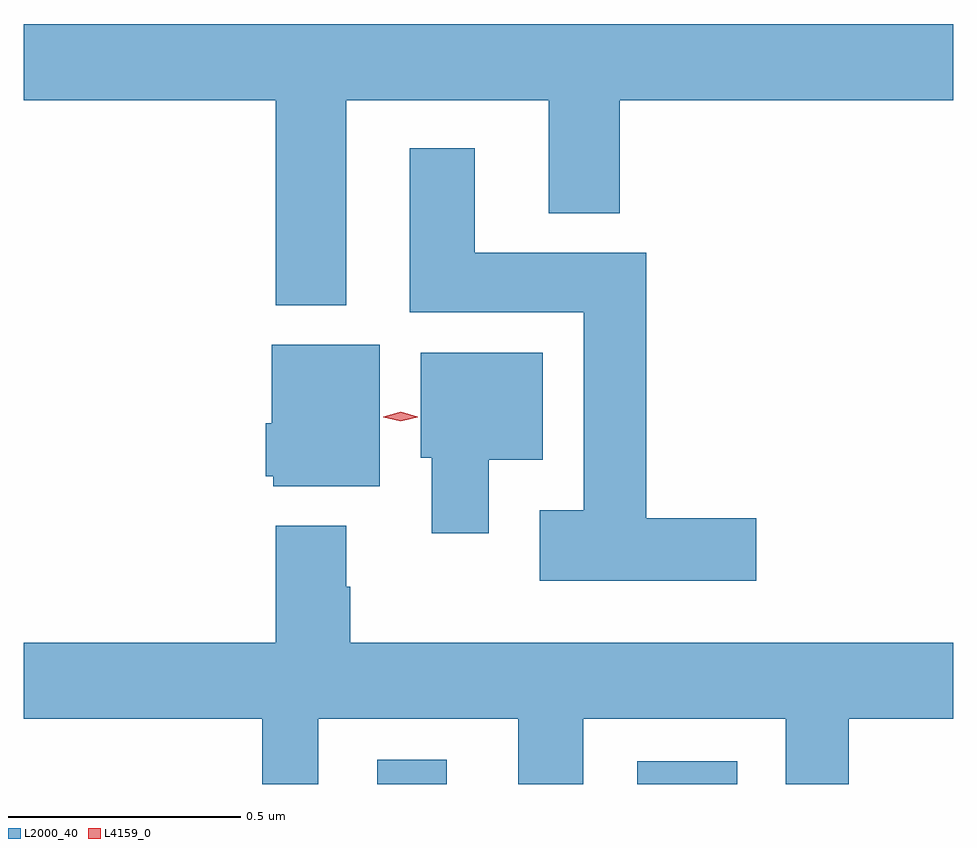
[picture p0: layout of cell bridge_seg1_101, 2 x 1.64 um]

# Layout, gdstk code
import gdstk
lib = gdstk.Library(unit=1e-6, precision=1e-09)
def R(c, l, rs):  # rectangles x0, y0, x1, y1
    for r in rs: c.add(gdstk.rectangle(r[:2], r[2:], *l))
def P(c, l, *ps):  # polygons
    for p in ps: c.add(gdstk.Polygon(p, *l))
L2000_40 = (2000, 40)
L4159_0 = (4159, 0)

bridge_seg1_101 = lib.new_cell('bridge_seg1_101')
R(bridge_seg1_101, L2000_40, [(295.01,574.236,295.159,574.288), (295.569,574.236,295.785,574.285)])
P(bridge_seg1_101, L2000_40, [(294.943,575.708),(295.379,575.708),(295.379,575.465),(295.532,575.465),(295.532,575.708),(296.249,575.708),(296.249,575.872),(294.249,575.872),(294.249,575.708),(294.791,575.708),(294.791,575.267),(294.943,575.267)],
  [(295.825,574.808),(295.589,574.808),(295.589,575.38),(295.219,575.38),(295.219,575.605),(295.079,575.605),(295.079,575.252),(295.454,575.252),(295.454,574.825),(295.359,574.825),(295.359,574.673),(295.825,574.673)],
  [(295.015,575.182),(294.782,575.182),(294.782,575.013),(294.77,575.013),(294.77,574.899),(294.786,574.899),(294.786,574.877),(295.015,574.877)],
  [(295.249,574.934),(295.366,574.934),(295.366,575.164),(295.103,575.164),(295.103,574.938),(295.127,574.938),(295.127,574.776),(295.249,574.776)],
  [(294.883,574.376),(295.313,574.376),(295.313,574.236),(295.453,574.236),(295.453,574.376),(295.889,574.376),(295.889,574.236),(296.024,574.236),(296.024,574.376),(296.249,574.376),(296.249,574.54),(294.951,574.54),(294.951,574.661),(294.943,574.661),(294.943,574.792),(294.791,574.792),(294.791,574.54),(294.249,574.54),(294.249,574.376),(294.762,574.376),(294.762,574.236),(294.883,574.236)])
P(bridge_seg1_101, L4159_0, [(295.06,575.017),(295.022,575.026),(295.022,575.027),(295.022,575.027),(295.06,575.037),(295.097,575.027),(295.097,575.027),(295.097,575.026)])

lib.write_gds('bridge_seg1_101.gds')
